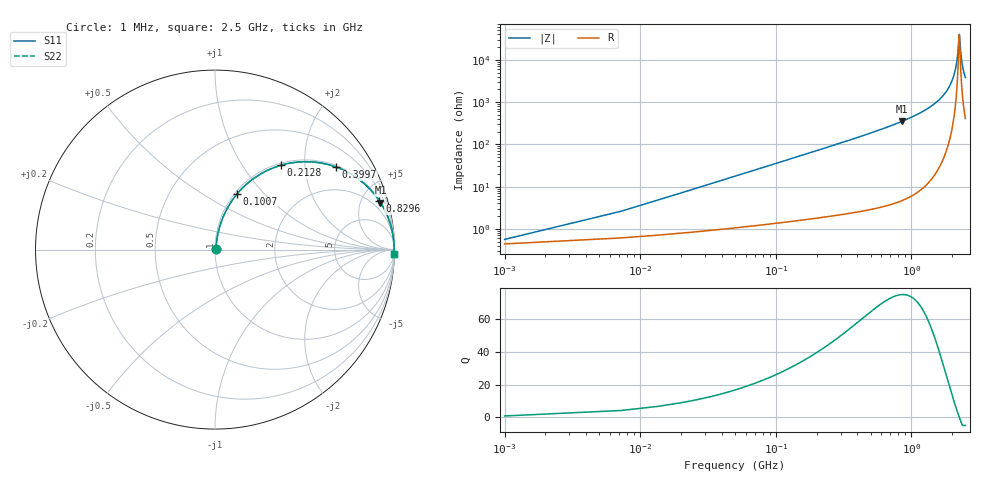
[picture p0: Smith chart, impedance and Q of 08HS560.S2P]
! Coilcraft 0805HS-560 Chip Inductor
! 13 June 2002
# MHZ S MA R 50
!Freq  MagS11  AngS11  MagS21  AngS21  MagS12  AngS12  MagS22  AngS22
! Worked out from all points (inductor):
!   403 points, 1 MHz to 2.5 GHz, reference 50 ohm
!   read as one part in series: L = 56 nH near 13.46 MHz
!   highest Q = 75.1 at 854.5 MHz (marker M1), where L = 65.4 nH
!   self-resonance near 2.25 GHz
!   S11 on the Smith chart (normalised r, x): 1 MHz: 1.01, +0.01; 100.7 MHz: 1.03, +0.71; 212.8 MHz: 1.04, +1.51; 399.7 MHz: 1.05, +2.90; 829.6 MHz: 1.09, +6.75; 2.5 GHz: 9, -76
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1  0.005617 38.4  0.9956 -0.2  0.9956 -0.2  0.005617 38.4
19.69  0.06902 79.6  0.9898 -3.9  0.9898 -3.9  0.06902 79.6
32.15  0.1118 79.0  0.9848 -6.4  0.9848 -6.4  0.1118 79.0
57.07  0.1952 75.6  0.9701 -11.2  0.9701 -11.2  0.1952 75.6
100.68  0.3308 68.5  0.9312 -19.3  0.9312 -19.3  0.3308 68.5
212.82  0.596 52.0  0.7886 -36.6  0.7886 -36.6  0.596 52.0
399.72  0.8171 34.2  0.5626 -54.8  0.5626 -54.8  0.8171 34.2
418.41  0.8298 33.0  0.5442 -56.1  0.5442 -56.1  0.8298 33.0
592.85  0.9083 23.9  0.4053 -65.3  0.4053 -65.3  0.9083 23.9
829.59  0.9554 16.4  0.283 -72.8  0.283 -72.8  0.9554 16.4
835.82  0.9561 16.3  0.2804 -73.0  0.2804 -73.0  0.9561 16.3
854.51  0.9584 15.8  0.2729 -73.4  0.2729 -73.4  0.9584 15.8
1253.23  0.9856 8.9  0.1544 -80.2  0.1544 -80.2  0.9856 8.9
1670.64  0.9949 4.4  0.07634 -84.0  0.07634 -84.0  0.9949 4.4
1919.84  0.9969 2.3  0.04062 -84.5  0.04062 -84.5  0.9969 2.3
2088.05  0.9975 1.1  0.01945 -82.0  0.01945 -82.0  0.9975 1.1
2175.27  0.9975 0.5  0.009326 -74.4  0.009326 -74.4  0.9975 0.5
2243.8  0.9975 0.1  0.002769 -25.7  0.002769 -25.7  0.9975 0.1
2256.26  0.9975 -0.0  0.002513 4.3  0.002513 4.3  0.9975 -0.0
2312.33  0.9974 -0.4  0.006857 67.7  0.006857 67.7  0.9974 -0.4
2355.94  0.9973 -0.6  0.01136 76.1  0.01136 76.1  0.9973 -0.6
2500  0.9969 -1.5  0.02616 82.4  0.02616 82.4  0.9969 -1.5
